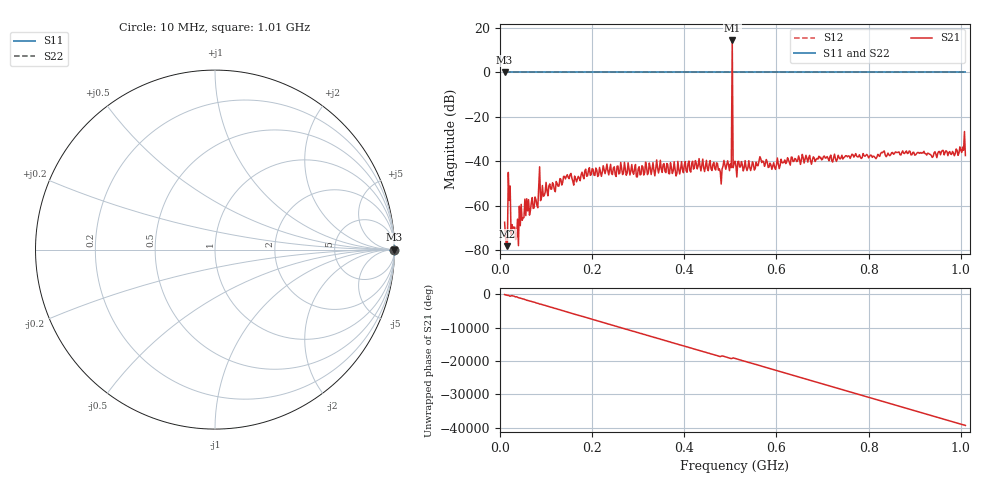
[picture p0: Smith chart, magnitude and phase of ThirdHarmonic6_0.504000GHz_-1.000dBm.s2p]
! 8/15/2025 3:13:57 PM
! C:\ANRITSUVNA\TEMP\TEMP.S2P
! CHANNEL.1
! TR.MEASUREMENT
! RAW.DATA
! RF.CORRECTION.OFF
! AVERAGING.OFF
! IF.BANDWIDTH: 5KHZ
! SWEEPTYPE:  FREQ.SWEEP(Linear)
! Reference Plane Port Info
! PORT:  PORT1  PORT2
! DISTANCE:  0  m  0  m
! TIME:  0  s  0  s
! PHASE.OFFSET:  0  deg.  0  deg.
! LOSS:  0  dB  0  dB
! REF.LOSS:  0  dB  0  dB
! REF.FREQ:  0  Hz  0  Hz
! Power Info
! POWER:  -20  dBm  -20  dBm
! EFF.POWER:  -20  dBm  -20  dBm
! SOURCE.ATTEN:  0  dB  0  dB
! TEST.ATTEN:  0  dB  0  dB
# GHZ S RI R 50.0
! FREQ.GHZ  S11RE  S11IM  S21RE  S21IM  S12RE  S12IM  S22RE  S22IM
!; PortSelection: Port_12
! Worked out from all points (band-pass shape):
!   501 points, 10 MHz to 1.01 GHz, reference 50 ohm
!   highest |S21| = 14.36 dB at 504 MHz (marker M1); lowest = -78.1 dB at 16 MHz (marker M2)
!   |S21| within 3 dB of the highest: 503.8949 MHz to 504.1049 MHz (210 kHz wide, 0.0417 % of centre)
!   lowest |S11| = 0.0 dB at 10 MHz (marker M3)
!   |S11| at or under -10 dB: nowhere
!   |S22| runs from 0.0 to 0.0 dB; largest |S21 - S12| = 6
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0.01  1 0  -0.000267 -0.000337  1 0  1 0
0.012  1 0  -9.9e-05 0.000173  1 0  1 0
0.016  1 0  0.00011 -5.92e-05  1 0  1 0
0.022  1 0  0.0013 0.00249  1 0  1 0
0.028  1 0  -0.000287 0.000124  1 0  1 0
0.036  1 0  0.000102 -0.000174  1 0  1 0
0.046  1 0  -0.00099 0.000447  1 0  1 0
0.078  1 0  -0.000349 -0.00136  1 0  1 0
0.088  1 0  -0.000559 -0.00119  1 0  1 0
0.092  1 0  -2.23e-05 0.00288  1 0  1 0
0.142  1 0  -0.00366 -0.00173  1 0  1 0
0.178  1 0  -0.00546 -0.00181  1 0  1 0
0.344  1 0  0.00546 0.000625  1 0  1 0
0.478  1 0  0.0055 0.00206  1 0  1 0
0.498  1 0  0.00395 -0.0048  1 0  1 0
0.5  1 0  -0.00471 -0.00745  1 0  1 0
0.504  1 0  -3.646 -3.743  1 0  1 0
0.508  1 0  0.00153 -0.00891  1 0  1 0
0.51  1 0  -0.0101 -0.000228  1 0  1 0
0.678  1 0  0.00548 -0.00939  1 0  1 0
0.844  1 0  -0.00393 0.0135  1 0  1 0
1.01  1 0  0.00341 -0.0132  1 0  1 0
